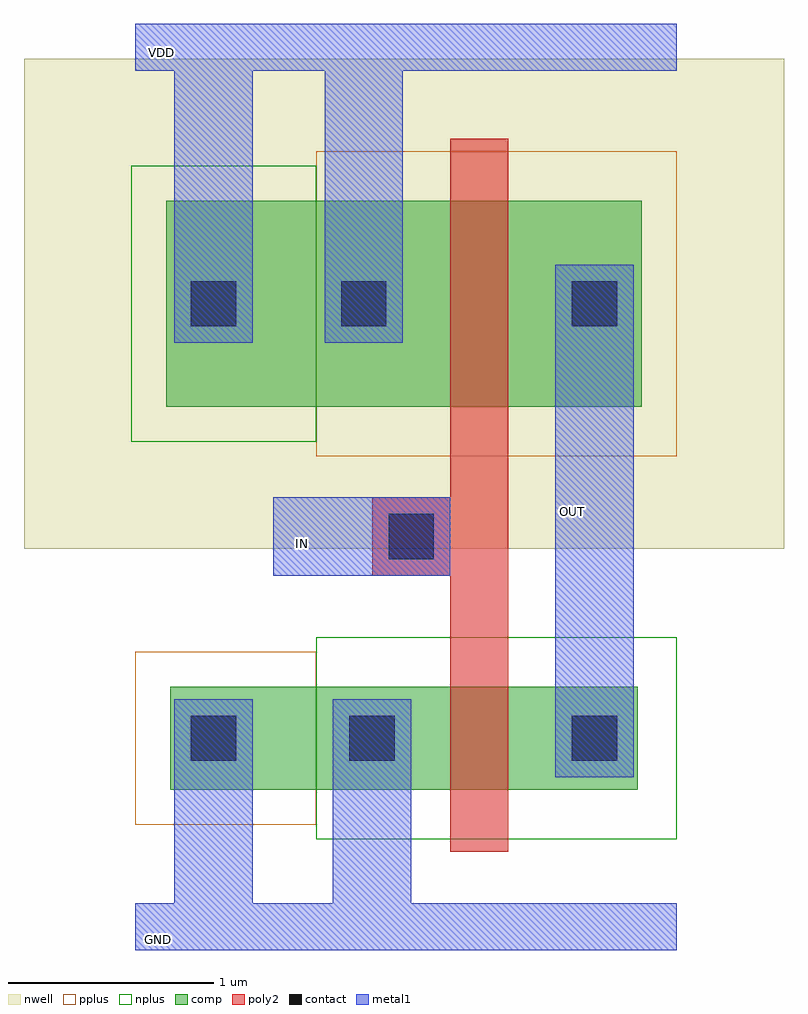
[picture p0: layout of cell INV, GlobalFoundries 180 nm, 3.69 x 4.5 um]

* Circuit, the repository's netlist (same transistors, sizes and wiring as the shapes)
* Extracted by KLayout with GF180MCU LVS runset on : 12/03/2026 02:05

.SUBCKT INV GND VDD OUT IN
M$1 OUT IN VDD VDD pfet_03v3 L=0.28U W=1U AS=0.65P AD=0.65P PS=3.3U PD=3.3U
M$2 OUT IN GND GND nfet_03v3 L=0.28U W=0.5U AS=0.325P AD=0.315P PS=2.3U PD=2.26U
.ENDS INV

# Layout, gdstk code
import gdstk
lib = gdstk.Library(unit=1e-6, precision=5e-09)
def R(c, l, rs):  # rectangles x0, y0, x1, y1
    for r in rs: c.add(gdstk.rectangle(r[:2], r[2:], *l))
nwell = (21, 0)
comp = (22, 0)
poly2 = (30, 0)
pplus = (31, 0)
nplus = (32, 0)
contact = (33, 0)
metal1 = (34, 0)

inv = lib.new_cell('INV')
R(inv, nwell, [(-1.55,0.955,2.14,3.335)])
R(inv, comp, [(-0.84,-0.215,-0.13,0.285), (-0.13,-0.215,0.35,0.285), (0.35,-0.215,1.01,0.285), (1.01,-0.215,1.43,0.285), (-0.86,1.645,-0.13,2.645), (-0.13,1.645,0.33,2.645), (0.33,1.645,0.99,2.645), (0.99,1.645,1.45,2.645)])
R(inv, poly2, [(0.52,-0.515,0.8,2.945), (0.14,0.825,0.52,1.205)])
R(inv, pplus, [(-1.01,-0.385,-0.13,0.455), (-0.13,1.405,1.62,2.885)])
R(inv, nplus, [(-0.13,-0.455,1.62,0.525), (-1.03,1.475,-0.13,2.815)])
R(inv, contact, [(-0.74,-0.075,-0.52,0.145), (0.03,-0.075,0.25,0.145), (1.11,-0.075,1.33,0.145), (0.22,0.905,0.44,1.125), (-0.74,2.035,-0.52,2.255), (-0.01,2.035,0.21,2.255), (1.11,2.035,1.33,2.255)])
R(inv, metal1, [(-1.01,-0.995,-0.05,-0.765), (-0.05,-0.995,1.62,-0.765), (-0.82,-0.765,-0.44,-0.155), (-0.05,-0.765,0.33,-0.155), (-0.82,-0.155,-0.44,0.225), (-0.05,-0.155,0.33,0.225), (1.03,-0.155,1.41,0.225), (1.03,0.225,1.41,1.955), (-0.34,0.825,0.14,1.205), (0.14,0.825,0.52,1.205), (-0.82,1.955,-0.44,2.335), (-0.09,1.955,0.29,2.335), (1.03,1.955,1.41,2.335), (-0.82,2.335,-0.44,3.275), (-0.09,2.335,0.29,3.275), (-1.01,3.275,-0.13,3.505), (-0.13,3.275,1.62,3.505)])
inv.add(gdstk.Label('VDD', (-0.88,3.365), layer=34, texttype=10))
inv.add(gdstk.Label('GND', (-0.895,-0.94), layer=34, texttype=10))
inv.add(gdstk.Label('OUT', (1.115,1.135), layer=34, texttype=10))
inv.add(gdstk.Label('IN', (-0.2,0.98), layer=34, texttype=10))

lib.write_gds('INV.gds')
